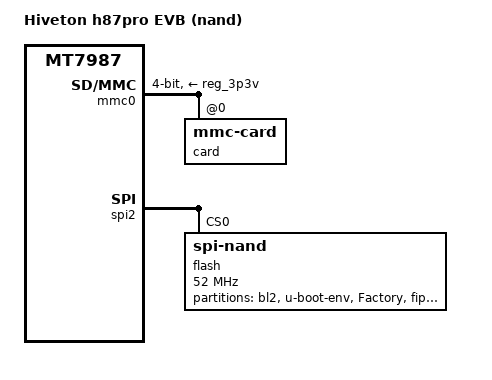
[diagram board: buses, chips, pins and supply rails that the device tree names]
// SPDX-License-Identifier: (GPL-2.0 OR MIT)

/dts-v1/;
#include "mt7987a-hiveton-h87pro-evb-base.dts"

/ {
	model = "Hiveton h87pro EVB (nand)";
	compatible = "hiveton,h87pro-evb-nand", "mediatek,mt7987";
};

&chosen {
	rootdisk = <&ubi_rootdisk>;
	bootargs-append = " root=/dev/ubiblock0_1 rootwait";
};

&mmc0 {
	pinctrl-names = "default", "state_uhs";
	pinctrl-0 = <&sd_pins_default>;
	pinctrl-1 = <&sd_pins_uhs>;

	bus-width = <4>;
	max-frequency = <48000000>;
	cap-sd-highspeed;
	no-mmc;
	no-sdio;
	vmmc-supply = <&reg_3p3v>;
	vqmmc-supply = <&reg_3p3v>;

	#address-cells = <1>;
	#size-cells = <0>;

	status = "okay";

	card@0 {
		compatible = "mmc-card";
		reg = <0>;
	};
};

&spi2 {
	pinctrl-names = "default";
	pinctrl-0 = <&spi2_flash_pins>;
	status = "okay";

	flash@0 {
		compatible = "spi-nand";
		#address-cells = <1>;
		#size-cells = <1>;
		reg = <0>;

		spi-max-frequency = <52000000>;
		spi-tx-bus-width = <4>;
		spi-rx-bus-width = <4>;

		mediatek,nmbm;
		mediatek,bmt-max-ratio = <1>;
		mediatek,bmt-max-reserved-blocks = <64>;

		partitions {
			compatible = "fixed-partitions";
			#address-cells = <1>;
			#size-cells = <1>;

			partition@0 {
				label = "bl2";
				reg = <0x00000 0x0100000>;
				read-only;
			};

			partition@100000 {
				label = "u-boot-env";
				reg = <0x0100000 0x0080000>;
			};

			factory: partition@180000 {
				label = "Factory";
				reg = <0x180000 0x0400000>;

				nvmem-layout {
					compatible = "fixed-layout";
					#address-cells = <1>;
					#size-cells = <1>;

					gmac2_mac: eeprom@fffee {
						reg = <0xfffee 0x6>;
					};

					gmac1_mac: eeprom@ffffa {
						reg = <0xffffa 0x6>;
					};

					gmac0_mac: eeprom@ffff4 {
						reg = <0xffff4 0x6>;
					};
				};
			};

			partition@580000 {
				label = "fip";
				reg = <0x580000 0x0200000>;
			};

			partition@780000 {
				compatible = "linux,ubi";
				reg = <0x780000 0x7080000>;
				label = "ubi";

				volumes {
					ubi_rootdisk: ubi-volume-rootfs {
						volname = "rootfs";
					};
				};
			};
		};
	};
};
